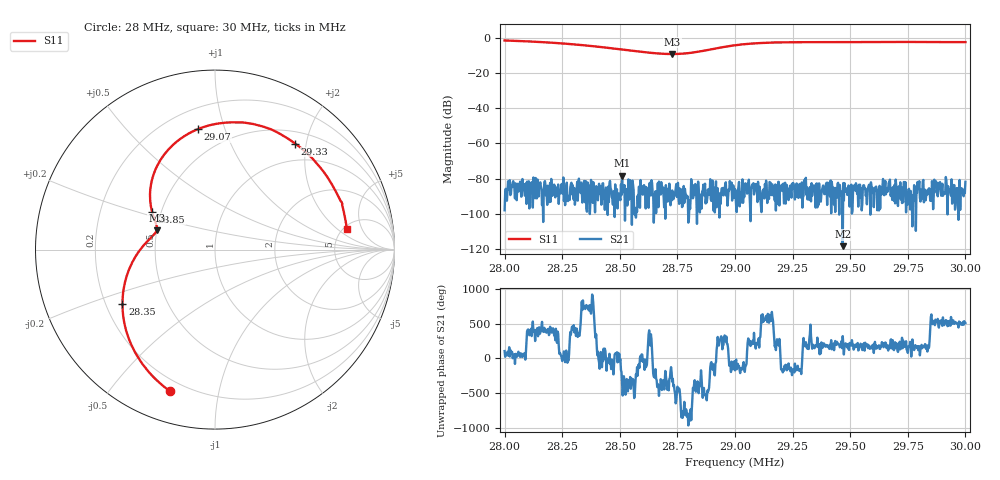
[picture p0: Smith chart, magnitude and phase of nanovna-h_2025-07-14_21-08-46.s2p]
! NanoVNA-App by OneOfEleven et al v1.1.209 (+OD18)
! Date: 2025-07-14 21:08:48
! Start: 28MHz Stop: 30MHz Points: 801
! S-Parameter data: F S11 S21 S12 S22
# Hz S RI R 50
!  Frequency  S11_Real  S11_Imag  S21_Real  S21_Imag  S12_Real  S12_Imag  S22_Real  S22_Imag
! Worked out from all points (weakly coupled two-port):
!   801 points, 28 MHz to 30 MHz, reference 50 ohm
!   highest |S21| = -78.35 dB at 28.51 MHz (marker M1); lowest = -118.2 dB at 29.47 MHz (marker M2)
!   lowest |S11| = -9.3 dB at 28.73 MHz (marker M3), VSWR 2.04, Z = 25 + j6.08 ohm
!   |S11| at or under -10 dB: nowhere
!   S12 and S22 are empty: the file has one direction only
!   S11 on the Smith chart (normalised r, x): 28 MHz: 0.14, -0.72; 28.35 MHz: 0.27, -0.25; 28.85 MHz: 0.45, +0.23; 29.07 MHz: 0.33, +0.81; 29.33 MHz: 0.69, +1.81; 30 MHz: 5.35, +2.74
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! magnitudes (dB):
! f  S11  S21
! 28 MHz  -1.6  -97.9
! 28.18 MHz  -2.7  -83.7
! 28.34 MHz  -4.2  -87.0
! 28.35 MHz  -4.5  -81.4
! 28.5 MHz  -6.6  -90.5
! 28.5 MHz  -6.6  -90.8
! 28.51 MHz  -6.8  -78.3
! 28.52 MHz  -6.9  -83.6
! 28.52 MHz  -7.0  -103.8
! 28.67 MHz  -9.0  -96.1
! 28.73 MHz  -9.3  -86.6
! 28.79 MHz  -8.9  -89.1
! 28.85 MHz  -7.7  -89.0
! 28.95 MHz  -5.4  -85.3
! 29 MHz  -4.4  -85.8
! 29.07 MHz  -3.4  -83.2
! 29.18 MHz  -2.8  -83.9
! 29.33 MHz  -2.6  -92.9
! 29.34 MHz  -2.6  -89.7
! 29.47 MHz  -2.6  -118.2
! 29.67 MHz  -2.5  -82.2
! 30 MHz  -2.6  -81.8
